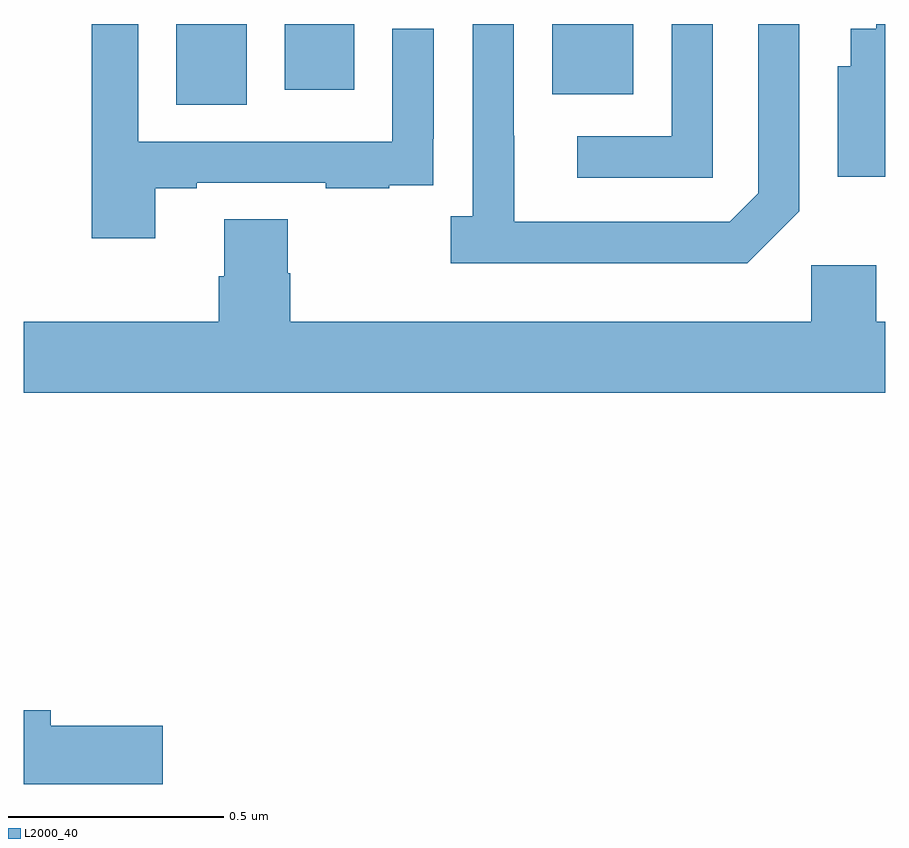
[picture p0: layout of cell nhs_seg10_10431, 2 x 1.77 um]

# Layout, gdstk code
import gdstk
lib = gdstk.Library(unit=1e-6, precision=1e-09)
def R(c, l, rs):  # rectangles x0, y0, x1, y1
    for r in rs: c.add(gdstk.rectangle(r[:2], r[2:], *l))
def P(c, l, *ps):  # polygons
    for p in ps: c.add(gdstk.Polygon(p, *l))
L2000_40 = (2000, 40)

nhs_seg10_10431 = lib.new_cell('nhs_seg10_10431')
R(nhs_seg10_10431, L2000_40, [(242.354,1306.312,242.518,1306.5), (243.227,1306.337,243.415,1306.5), (242.606,1306.347,242.767,1306.5)])
P(nhs_seg10_10431, L2000_40, [(243.6,1306.5),(243.504,1306.5),(243.504,1306.239),(243.285,1306.239),(243.285,1306.143),(243.6,1306.143)],
  [(243.801,1306.065),(243.801,1306.5),(243.705,1306.5),(243.705,1306.107),(243.639,1306.041),(243.139,1306.041),(243.139,1306.241),(243.138,1306.241),(243.138,1306.5),(243.042,1306.5),(243.042,1306.054),(242.991,1306.054),(242.991,1305.944),(243.68,1305.944)],
  [(244,1306.5),(243.98,1306.5),(243.98,1306.489),(243.92,1306.489),(243.92,1306.402),(243.89,1306.402),(243.89,1306.145),(244,1306.145)],
  [(242.305,1306.119),(242.401,1306.119),(242.401,1306.131),(242.701,1306.131),(242.701,1306.119),(242.849,1306.119),(242.849,1306.125),(242.951,1306.125),(242.951,1306.234),(242.952,1306.234),(242.952,1306.489),(242.856,1306.489),(242.856,1306.227),(242.265,1306.227),(242.265,1306.5),(242.157,1306.5),(242.157,1306.002),(242.305,1306.002)],
  [(244,1305.808),(243.98,1305.808),(243.98,1305.94),(243.828,1305.94),(243.828,1305.808),(242.618,1305.808),(242.618,1305.921),(242.613,1305.921),(242.613,1306.046),(242.465,1306.046),(242.465,1305.914),(242.453,1305.914),(242.453,1305.808),(242,1305.808),(242,1305.644),(244,1305.644)],
  [(242.323,1304.87),(242.062,1304.87),(242.062,1304.906),(242,1304.906),(242,1304.735),(242.323,1304.735)])

lib.write_gds('nhs_seg10_10431.gds')
